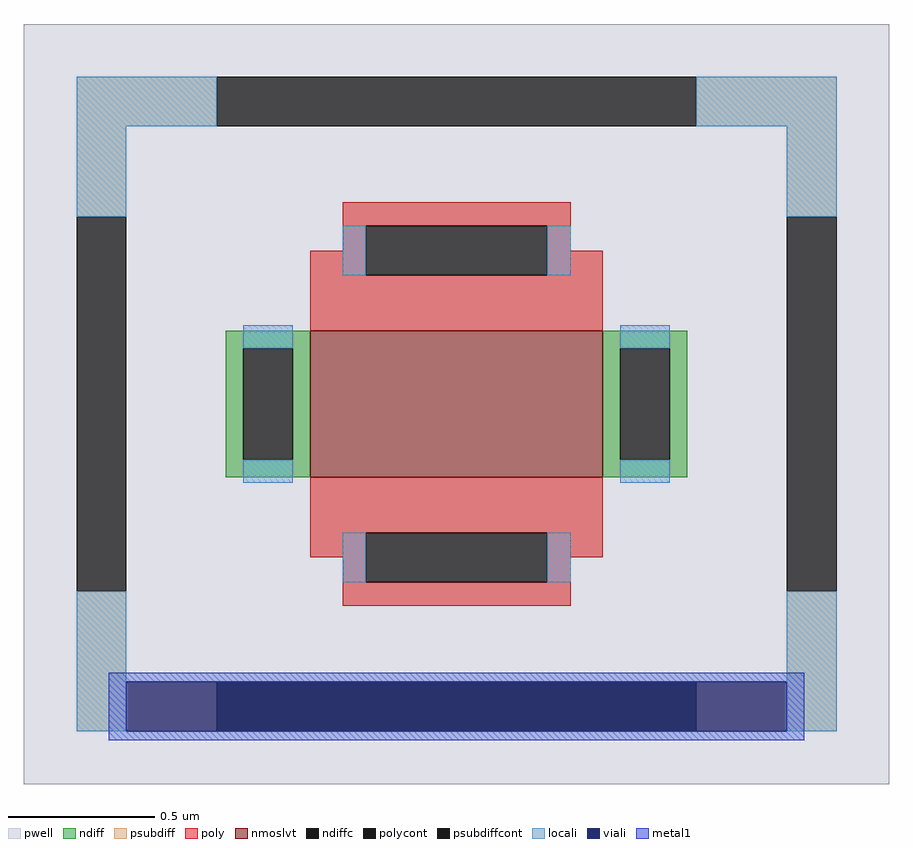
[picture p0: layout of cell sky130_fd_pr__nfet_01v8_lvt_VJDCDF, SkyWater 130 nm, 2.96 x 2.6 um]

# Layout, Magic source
magic
tech sky130A
magscale 1 2
<< pwell >>
rect -296 -260 296 260
<< nmoslvt >>
rect -100 -50 100 50
<< ndiff >>
rect -158 38 -100 50
rect -158 -38 -146 38
rect -112 -38 -100 38
rect -158 -50 -100 -38
rect 100 38 158 50
rect 100 -38 112 38
rect 146 -38 158 38
rect 100 -50 158 -38
<< ndiffc >>
rect -146 -38 -112 38
rect 112 -38 146 38
<< psubdiff >>
rect -260 190 -164 224
rect 164 190 260 224
rect -260 128 -226 190
rect 226 128 260 190
rect -260 -190 -226 -128
rect 226 -190 260 -128
rect -260 -224 -164 -190
rect 164 -224 260 -190
<< psubdiffcont >>
rect -164 190 164 224
rect -260 -128 -226 128
rect 226 -128 260 128
rect -164 -224 164 -190
<< poly >>
rect -78 122 78 138
rect -78 105 -62 122
rect -100 88 -62 105
rect 62 105 78 122
rect 62 88 100 105
rect -100 50 100 88
rect -100 -88 100 -50
rect -100 -105 -62 -88
rect -78 -122 -62 -105
rect 62 -105 100 -88
rect 62 -122 78 -105
rect -78 -138 78 -122
<< polycont >>
rect -62 88 62 122
rect -62 -122 62 -88
<< locali >>
rect -260 190 -164 224
rect 164 190 260 224
rect -260 128 -226 190
rect 226 128 260 190
rect -78 88 -62 122
rect 62 88 78 122
rect -146 38 -112 54
rect -146 -54 -112 -38
rect 112 38 146 54
rect 112 -54 146 -38
rect -78 -122 -62 -88
rect 62 -122 78 -88
rect -260 -224 -226 -128
rect 226 -224 260 -128
<< viali >>
rect -226 -224 -164 -190
rect -164 -224 164 -190
rect 164 -224 226 -190
<< metal1 >>
rect -238 -190 238 -184
rect -238 -224 -226 -190
rect 226 -224 238 -190
rect -238 -230 238 -224
<< properties >>
string FIXED_BBOX -243 -207 243 207
string gencell sky130_fd_pr__nfet_01v8_lvt
string library sky130
string parameters w 0.5 l 1.0 m 1 nf 1 diffcov 100 polycov 74 guard 1 glc 1 grc 1 gtc 1 gbc 1 tbcov 100 rlcov 100 topc 1 botc 1 poverlap 0 doverlap 1 lmin 0.15 wmin 0.42 class mosfet compatible {sky130_fd_pr__nfet_01v8 sky130_fd_pr__nfet_01v8_lvt  sky130_fd_bs_flash__special_sonosfet_star  sky130_fd_pr__nfet_g5v0d10v5 sky130_fd_pr__nfet_05v0_nvt  sky130_fd_pr__nfet_03v3_nvt} full_metal 1 viasrc 0 viadrn 0 viagate 0 viagb 100 viagr 0 viagl 0 viagt 0
<< end >>
